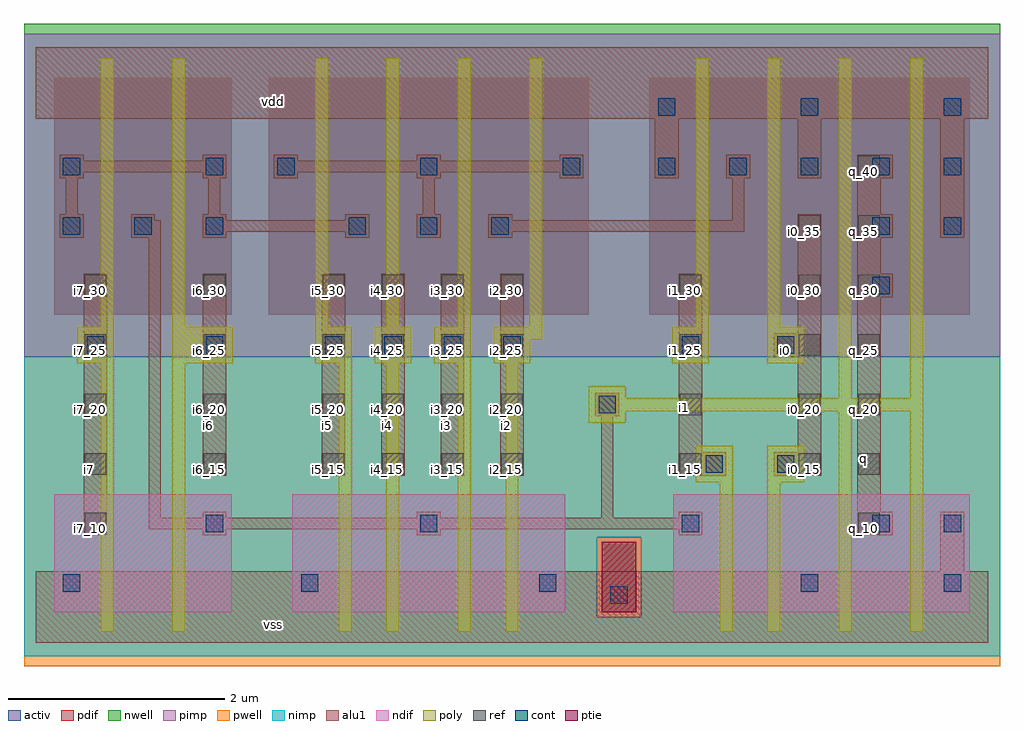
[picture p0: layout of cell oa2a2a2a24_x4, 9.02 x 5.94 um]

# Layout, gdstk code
import gdstk
lib = gdstk.Library(unit=1e-6, precision=2.5e-09)
def R(c, l, rs):  # rectangles x0, y0, x1, y1
    for r in rs: c.add(gdstk.rectangle(r[:2], r[2:], *l))
def A(c, l, x, y, w, h, nx, ny, dx, dy):  # array of equal rectangles
    R(c, l, [(x+i*dx, y+j*dy, x+i*dx+w, y+j*dy+h) for i in range(nx) for j in range(ny)])
ndif = (3, 0)
pdif = (4, 0)
ptie = (6, 0)
ref = (24, 0)
cont = (25, 0)
pwell = (41, 0)
nwell = (42, 0)
activ = (43, 0)
pimp = (44, 0)
nimp = (45, 0)
poly = (46, 0)
alu1 = (49, 0)

oa2a2a2a24_x4 = lib.new_cell('oa2a2a2a24_x4')
R(oa2a2a2a24_x4, ndif, [(0.17,0.28,1.81,1.37), (0.17,0.28,1.81,1.37), (2.37,0.28,4.89,1.37), (2.37,0.28,4.89,1.37), (5.89,0.28,8.63,1.37), (5.89,0.28,8.63,1.37)])
R(oa2a2a2a24_x4, pdif, [(0.17,3.03,1.81,5.22), (0.17,3.03,1.81,5.22), (2.15,3.03,5.11,5.22), (2.15,3.03,5.11,5.22), (5.67,3.03,8.63,5.22), (5.67,3.03,8.63,5.22)])
R(oa2a2a2a24_x4, ptie, [(5.23,0.28,5.55,0.93), (5.23,0.28,5.55,0.93)])
A(oa2a2a2a24_x4, ref, 7.6, 1, 0.2, 0.2, 1, 7, 0, 0.55)
A(oa2a2a2a24_x4, ref, 0.45, 1.55, 0.2, 0.2, 3, 4, 1.1, 0.55)
A(oa2a2a2a24_x4, ref, 3.2, 1.55, 0.2, 0.2, 3, 4, 0.55, 0.55)
A(oa2a2a2a24_x4, ref, 5.95, 1.55, 0.2, 0.2, 1, 4, 0, 0.55)
A(oa2a2a2a24_x4, ref, 7.05, 1.55, 0.2, 0.2, 1, 5, 0, 0.55)
R(oa2a2a2a24_x4, ref, [(0.45,1,0.65,1.2)])
A(oa2a2a2a24_x4, cont, 0.25, 0.47, 0.16, 0.16, 3, 1, 2.2, 0)
A(oa2a2a2a24_x4, cont, 0.47, 2.67, 0.16, 0.16, 3, 1, 1.1, 0)
A(oa2a2a2a24_x4, cont, 3.22, 2.67, 0.16, 0.16, 3, 1, 0.55, 0)
A(oa2a2a2a24_x4, cont, 0.25, 3.77, 0.16, 0.16, 3, 1, 0.66, 0)
A(oa2a2a2a24_x4, cont, 2.89, 3.77, 0.16, 0.16, 3, 1, 0.66, 0)
A(oa2a2a2a24_x4, cont, 2.23, 4.32, 0.16, 0.16, 3, 1, 1.32, 0)
A(oa2a2a2a24_x4, cont, 5.75, 4.32, 0.16, 0.16, 5, 1, 0.66, 0)
A(oa2a2a2a24_x4, cont, 5.75, 4.87, 0.16, 0.16, 3, 1, 1.32, 0)
R(oa2a2a2a24_x4, cont, [(5.31,0.36,5.47,0.52), (7.07,0.47,7.23,0.63), (8.39,0.47,8.55,0.63), (1.57,1.02,1.73,1.18), (3.55,1.02,3.71,1.18), (5.97,1.02,6.13,1.18), (7.73,1.02,7.89,1.18), (8.39,1.02,8.55,1.18), (6.19,1.57,6.35,1.73), (6.85,1.57,7.01,1.73), (5.2,2.12,5.36,2.28), (5.97,2.67,6.13,2.83), (6.85,2.67,7.01,2.83), (7.73,3.22,7.89,3.38), (7.73,3.77,7.89,3.93), (8.39,3.77,8.55,3.93), (0.25,4.32,0.41,4.48), (1.57,4.32,1.73,4.48)])
R(oa2a2a2a24_x4, pwell, [(-0.11,-0.22,8.91,2.64)])
R(oa2a2a2a24_x4, nwell, [(-0.11,2.64,8.91,5.72)])
R(oa2a2a2a24_x4, activ, [(0.17,0.28,1.81,1.37), (0.17,0.28,1.81,1.37), (2.37,0.28,4.89,1.37), (2.37,0.28,4.89,1.37), (5.23,0.28,5.55,0.93), (5.23,0.28,5.55,0.93), (5.89,0.28,8.63,1.37), (5.89,0.28,8.63,1.37), (0.17,3.03,1.81,5.22), (0.17,3.03,1.81,5.22), (2.15,3.03,5.11,5.22), (2.15,3.03,5.11,5.22), (5.67,3.03,8.63,5.22), (5.67,3.03,8.63,5.22)])
R(oa2a2a2a24_x4, pimp, [(5.185,0.235,5.595,0.975), (-0.11,2.64,8.91,5.625)])
R(oa2a2a2a24_x4, nimp, [(-0.11,-0.125,8.91,0.235), (-0.11,0.235,5.185,0.975), (5.595,0.235,8.91,0.975), (-0.11,0.975,8.91,2.64)])
A(oa2a2a2a24_x4, poly, 2.58, 2.58, 0.34, 0.34, 3, 1, 0.55, 0)
A(oa2a2a2a24_x4, poly, 2.58, 2.92, 0.12, 2.48, 4, 1, 0.66, 0)
R(oa2a2a2a24_x4, poly, [(0.6,0.1,0.72,2.58), (1.26,0.1,1.38,2.58), (2.8,0.1,2.92,2.58), (3.24,0.1,3.36,2.58), (3.9,0.1,4.02,2.58), (4.34,0.1,4.46,2.58), (6.32,0.1,6.44,1.48), (6.76,0.1,6.88,1.48), (7.42,0.1,7.54,2.14), (8.08,0.1,8.2,2.14), (6.1,1.48,6.44,1.82), (6.76,1.48,7.1,1.82), (5.11,2.03,5.45,2.14), (5.11,2.14,8.2,2.26), (5.11,2.26,5.45,2.37), (7.42,2.26,7.54,5.4), (8.08,2.26,8.2,5.4), (0.38,2.58,0.72,2.92), (1.26,2.58,1.82,2.92), (4.23,2.58,4.57,2.8), (5.88,2.58,6.22,2.92), (6.76,2.58,7.1,2.92), (4.23,2.8,4.68,2.92), (0.6,2.92,0.72,5.4), (1.26,2.92,1.38,5.4), (6.1,2.92,6.22,5.4), (6.76,2.92,6.88,5.4)])
A(oa2a2a2a24_x4, alu1, 2.64, 1.54, 0.22, 1.87, 4, 1, 0.55, 0)
A(oa2a2a2a24_x4, alu1, 7.59, 3.19, 0.33, 0.22, 1, 3, 0, 0.55)
A(oa2a2a2a24_x4, alu1, 1.54, 3.74, 0.22, 0.055, 3, 2, 1.32, 0.165)
A(oa2a2a2a24_x4, alu1, 2.2, 4.29, 0.22, 0.055, 3, 2, 1.32, 0.165)
R(oa2a2a2a24_x4, alu1, [(0,0,8.8,0.66), (8.36,0.66,8.58,1.21), (0.44,0.99,0.66,3.41), (1.54,0.99,1.76,1.045), (3.52,0.99,3.74,1.045), (5.94,0.99,6.16,1.045), (7.59,0.99,7.92,1.21), (1.045,1.045,6.16,1.155), (1.045,1.155,1.155,3.74), (1.54,1.155,1.76,1.21), (3.52,1.155,3.74,1.21), (5.225,1.155,5.335,2.09), (5.94,1.155,6.16,1.21), (7.59,1.21,7.81,3.19), (1.54,1.54,1.76,3.41), (5.94,1.54,6.38,1.76), (6.82,1.54,7.26,1.76), (5.94,1.76,6.16,3.41), (7.04,1.76,7.26,2.64), (5.17,2.09,5.39,2.31), (6.82,2.64,7.26,2.86), (7.04,2.86,7.26,3.96), (7.59,3.41,7.81,3.74), (0.22,3.74,0.44,3.96), (0.88,3.74,1.155,3.905), (3.52,3.74,3.74,3.96), (8.36,3.74,8.58,4.84), (1.54,3.795,3.08,3.905), (4.18,3.795,6.545,3.905), (0.88,3.905,1.1,3.96), (6.435,3.905,6.545,4.29), (0.275,3.96,0.385,4.29), (1.595,3.96,1.705,4.29), (3.575,3.96,3.685,4.29), (7.59,3.96,7.81,4.29), (0.22,4.29,0.44,4.345), (1.54,4.29,1.76,4.345), (5.72,4.29,5.94,4.84), (6.38,4.29,6.6,4.51), (7.04,4.29,7.26,4.84), (0.22,4.345,1.76,4.455), (2.2,4.345,5.06,4.455), (0.22,4.455,0.44,4.51), (1.54,4.455,1.76,4.51), (0,4.84,8.8,5.5)])
oa2a2a2a24_x4.add(gdstk.Label('vss', (2.2,0.165), layer=49, texttype=0))
oa2a2a2a24_x4.add(gdstk.Label('q', (7.645,1.705), layer=49, texttype=0))
oa2a2a2a24_x4.add(gdstk.Label('i0', (6.93,2.695), layer=49, texttype=0))
oa2a2a2a24_x4.add(gdstk.Label('i1', (5.995,2.1725), layer=49, texttype=0))
oa2a2a2a24_x4.add(gdstk.Label('i2', (4.345,2.0075), layer=49, texttype=0))
oa2a2a2a24_x4.add(gdstk.Label('i3', (3.795,2.0075), layer=49, texttype=0))
oa2a2a2a24_x4.add(gdstk.Label('i4', (3.245,2.0075), layer=49, texttype=0))
oa2a2a2a24_x4.add(gdstk.Label('i5', (2.695,2.0075), layer=49, texttype=0))
oa2a2a2a24_x4.add(gdstk.Label('i6', (1.595,2.0075), layer=49, texttype=0))
oa2a2a2a24_x4.add(gdstk.Label('i7', (0.495,1.595), layer=49, texttype=0))
oa2a2a2a24_x4.add(gdstk.Label('vdd', (2.2,5.005), layer=49, texttype=0))
oa2a2a2a24_x4.add(gdstk.Label('i0_35', (7.1,3.8), layer=24, texttype=0))
oa2a2a2a24_x4.add(gdstk.Label('i1_20', (6,2.15), layer=24, texttype=0))
oa2a2a2a24_x4.add(gdstk.Label('i1_25', (6,2.7), layer=24, texttype=0))
oa2a2a2a24_x4.add(gdstk.Label('i1_30', (6,3.25), layer=24, texttype=0))
oa2a2a2a24_x4.add(gdstk.Label('i1_15', (6,1.6), layer=24, texttype=0))
oa2a2a2a24_x4.add(gdstk.Label('i0_15', (7.1,1.6), layer=24, texttype=0))
oa2a2a2a24_x4.add(gdstk.Label('i0_20', (7.1,2.15), layer=24, texttype=0))
oa2a2a2a24_x4.add(gdstk.Label('i0_25', (7.1,2.7), layer=24, texttype=0))
oa2a2a2a24_x4.add(gdstk.Label('i0_30', (7.1,3.25), layer=24, texttype=0))
oa2a2a2a24_x4.add(gdstk.Label('q_10', (7.65,1.05), layer=24, texttype=0))
oa2a2a2a24_x4.add(gdstk.Label('q_40', (7.65,4.35), layer=24, texttype=0))
oa2a2a2a24_x4.add(gdstk.Label('q_20', (7.65,2.15), layer=24, texttype=0))
oa2a2a2a24_x4.add(gdstk.Label('q_15', (7.65,1.6), layer=24, texttype=0))
oa2a2a2a24_x4.add(gdstk.Label('q_35', (7.65,3.8), layer=24, texttype=0))
oa2a2a2a24_x4.add(gdstk.Label('q_30', (7.65,3.25), layer=24, texttype=0))
oa2a2a2a24_x4.add(gdstk.Label('q_25', (7.65,2.7), layer=24, texttype=0))
oa2a2a2a24_x4.add(gdstk.Label('i7_10', (0.5,1.05), layer=24, texttype=0))
oa2a2a2a24_x4.add(gdstk.Label('i7_15', (0.5,1.6), layer=24, texttype=0))
oa2a2a2a24_x4.add(gdstk.Label('i7_20', (0.5,2.15), layer=24, texttype=0))
oa2a2a2a24_x4.add(gdstk.Label('i7_25', (0.5,2.7), layer=24, texttype=0))
oa2a2a2a24_x4.add(gdstk.Label('i7_30', (0.5,3.25), layer=24, texttype=0))
oa2a2a2a24_x4.add(gdstk.Label('i6_15', (1.6,1.6), layer=24, texttype=0))
oa2a2a2a24_x4.add(gdstk.Label('i6_20', (1.6,2.15), layer=24, texttype=0))
oa2a2a2a24_x4.add(gdstk.Label('i6_25', (1.6,2.7), layer=24, texttype=0))
oa2a2a2a24_x4.add(gdstk.Label('i6_30', (1.6,3.25), layer=24, texttype=0))
oa2a2a2a24_x4.add(gdstk.Label('i5_15', (2.7,1.6), layer=24, texttype=0))
oa2a2a2a24_x4.add(gdstk.Label('i5_20', (2.7,2.15), layer=24, texttype=0))
oa2a2a2a24_x4.add(gdstk.Label('i5_25', (2.7,2.7), layer=24, texttype=0))
oa2a2a2a24_x4.add(gdstk.Label('i5_30', (2.7,3.25), layer=24, texttype=0))
oa2a2a2a24_x4.add(gdstk.Label('i4_15', (3.25,1.6), layer=24, texttype=0))
oa2a2a2a24_x4.add(gdstk.Label('i4_20', (3.25,2.15), layer=24, texttype=0))
oa2a2a2a24_x4.add(gdstk.Label('i4_25', (3.25,2.7), layer=24, texttype=0))
oa2a2a2a24_x4.add(gdstk.Label('i4_30', (3.25,3.25), layer=24, texttype=0))
oa2a2a2a24_x4.add(gdstk.Label('i3_15', (3.8,1.6), layer=24, texttype=0))
oa2a2a2a24_x4.add(gdstk.Label('i3_20', (3.8,2.15), layer=24, texttype=0))
oa2a2a2a24_x4.add(gdstk.Label('i3_25', (3.8,2.7), layer=24, texttype=0))
oa2a2a2a24_x4.add(gdstk.Label('i3_30', (3.8,3.25), layer=24, texttype=0))
oa2a2a2a24_x4.add(gdstk.Label('i2_15', (4.35,1.6), layer=24, texttype=0))
oa2a2a2a24_x4.add(gdstk.Label('i2_20', (4.35,2.15), layer=24, texttype=0))
oa2a2a2a24_x4.add(gdstk.Label('i2_25', (4.35,2.7), layer=24, texttype=0))
oa2a2a2a24_x4.add(gdstk.Label('i2_30', (4.35,3.25), layer=24, texttype=0))

lib.write_gds('oa2a2a2a24_x4.gds')
